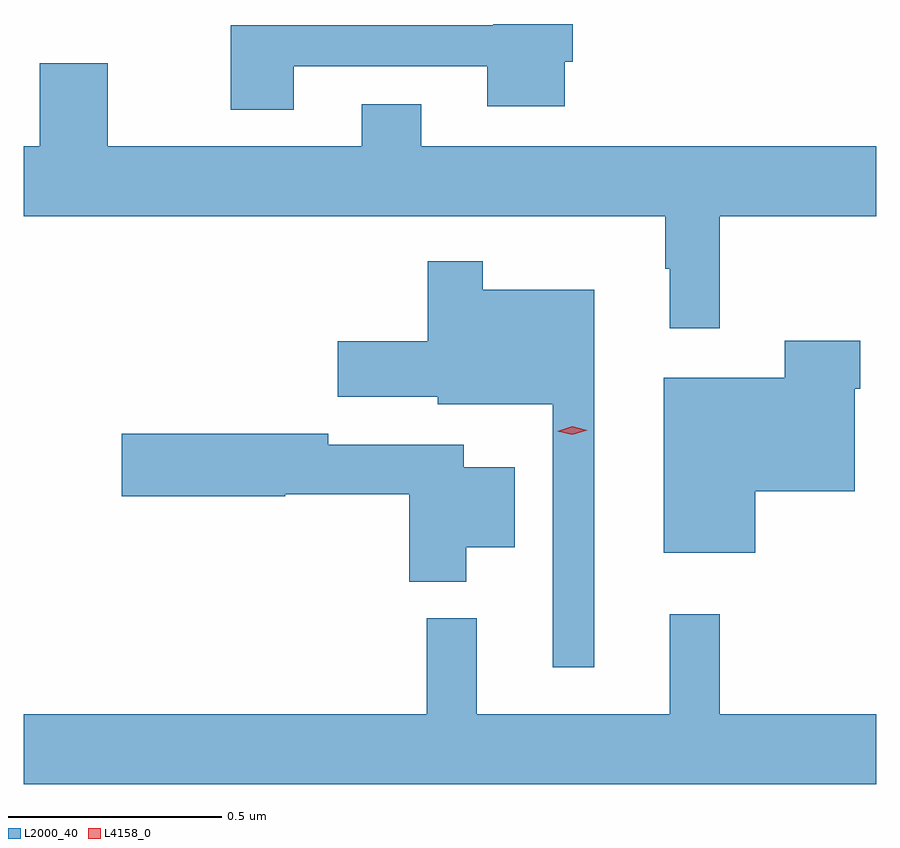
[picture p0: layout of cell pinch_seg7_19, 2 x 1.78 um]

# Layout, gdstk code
import gdstk
lib = gdstk.Library(unit=1e-6, precision=1e-09)
def P(c, l, *ps):  # polygons
    for p in ps: c.add(gdstk.Polygon(p, *l))
L2000_40 = (2000, 40)
L4158_0 = (4158, 0)

pinch_seg7_19 = lib.new_cell('pinch_seg7_19')
P(pinch_seg7_19, L2000_40, [(1022.437,1076.892),(1022.891,1076.892),(1022.891,1076.798),(1023.073,1076.798),(1023.073,1076.902),(1023.092,1076.902),(1023.092,1076.991),(1022.906,1076.991),(1022.906,1076.988),(1022.29,1076.988),(1022.29,1076.79),(1022.437,1076.79)],
  [(1023.437,1076.54),(1023.804,1076.54),(1023.804,1076.704),(1022.737,1076.704),(1022.737,1076.803),(1022.597,1076.803),(1022.597,1076.704),(1022.001,1076.704),(1022.001,1076.899),(1021.841,1076.899),(1021.841,1076.704),(1021.804,1076.704),(1021.804,1076.54),(1023.309,1076.54),(1023.309,1076.417),(1023.32,1076.417),(1023.32,1076.277),(1023.437,1076.277)],
  [(1023.142,1076.368),(1022.881,1076.368),(1022.881,1076.434),(1022.752,1076.434),(1022.752,1076.247),(1022.541,1076.247),(1022.541,1076.117),(1022.775,1076.117),(1022.775,1076.099),(1023.045,1076.099),(1023.045,1075.482),(1023.142,1075.482)],
  [(1023.52,1075.895),(1023.754,1075.895),(1023.754,1076.135),(1023.767,1076.135),(1023.767,1076.248),(1023.589,1076.248),(1023.589,1076.161),(1023.305,1076.161),(1023.305,1075.751),(1023.52,1075.751)],
  [(1022.842,1075.763),(1022.956,1075.763),(1022.956,1075.951),(1022.836,1075.951),(1022.836,1076.004),(1022.518,1076.004),(1022.518,1076.03),(1022.034,1076.03),(1022.034,1075.883),(1022.418,1075.883),(1022.418,1075.888),(1022.708,1075.888),(1022.708,1075.682),(1022.842,1075.682)],
  [(1023.804,1075.372),(1023.437,1075.372),(1023.437,1075.606),(1023.32,1075.606),(1023.32,1075.372),(1022.867,1075.372),(1022.867,1075.597),(1022.749,1075.597),(1022.749,1075.372),(1021.804,1075.372),(1021.804,1075.208),(1023.804,1075.208)])
P(pinch_seg7_19, L4158_0, [(1023.091,1076.027),(1023.056,1076.035),(1023.056,1076.035),(1023.056,1076.036),(1023.091,1076.047),(1023.126,1076.038),(1023.126,1076.038),(1023.126,1076.038)])

lib.write_gds('pinch_seg7_19.gds')
